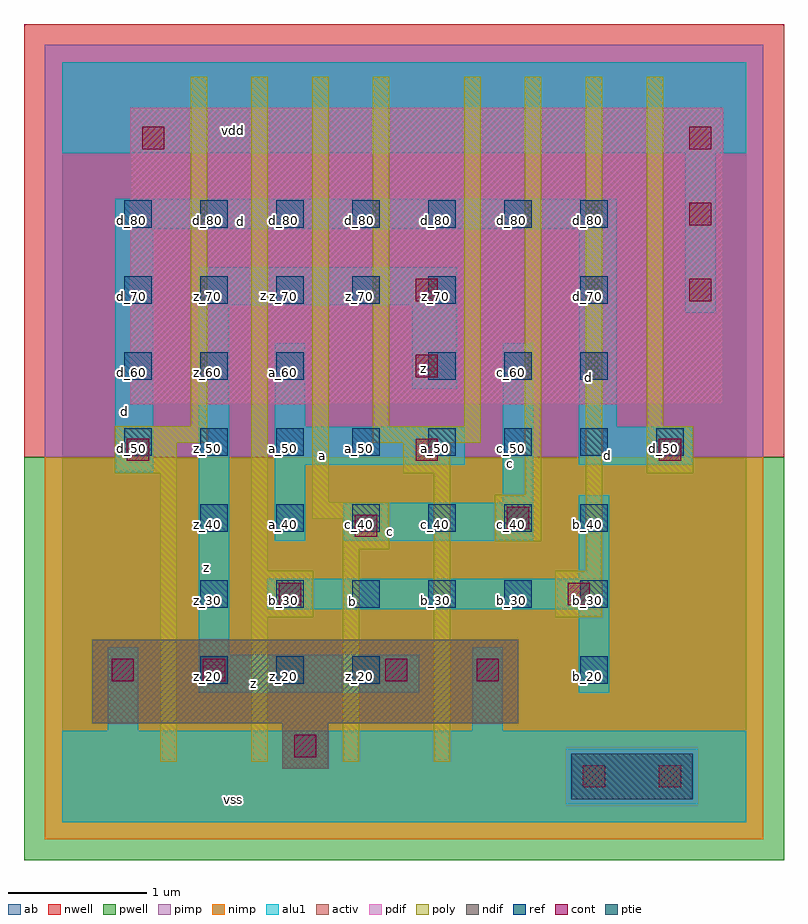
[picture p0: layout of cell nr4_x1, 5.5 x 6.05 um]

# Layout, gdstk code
import gdstk
lib = gdstk.Library(unit=1e-6, precision=2.5e-09)
def R(c, l, rs):  # rectangles x0, y0, x1, y1
    for r in rs: c.add(gdstk.rectangle(r[:2], r[2:], *l))
def A(c, l, x, y, w, h, nx, ny, dx, dy):  # array of equal rectangles
    R(c, l, [(x+i*dx, y+j*dy, x+i*dx+w, y+j*dy+h) for i in range(nx) for j in range(ny)])
ndif = (3, 0)
pdif = (4, 0)
ptie = (6, 0)
ref = (24, 0)
cont = (25, 0)
pwell = (41, 0)
nwell = (42, 0)
activ = (43, 0)
pimp = (44, 0)
nimp = (45, 0)
poly = (46, 0)
alu1 = (49, 0)
ab = (63, 0)

nr4_x1 = lib.new_cell('nr4_x1')
R(nr4_x1, ndif, [(1.595,0.385,1.925,0.715), (0.22,0.715,3.3,1.32)])
R(nr4_x1, pdif, [(0.495,3.025,4.785,5.17)])
R(nr4_x1, ptie, [(3.685,0.165,4.565,0.495)])
A(nr4_x1, ref, 1, 1, 0.2, 0.2, 3, 1, 0.55, 0)
A(nr4_x1, ref, 1, 1.55, 0.2, 0.2, 6, 2, 0.55, 0.55)
A(nr4_x1, ref, 0.45, 2.65, 0.2, 0.2, 8, 1, 0.55, 0)
A(nr4_x1, ref, 0.45, 3.2, 0.2, 0.2, 3, 1, 0.55, 0)
A(nr4_x1, ref, 2.65, 3.2, 0.2, 0.2, 3, 1, 0.55, 0)
A(nr4_x1, ref, 0.45, 3.75, 0.2, 0.2, 5, 1, 0.55, 0)
A(nr4_x1, ref, 0.45, 4.3, 0.2, 0.2, 7, 1, 0.55, 0)
R(nr4_x1, ref, [(3.75,1,3.95,1.2), (3.75,3.75,3.95,3.95)])
A(nr4_x1, cont, 4.54, 3.77, 0.16, 0.16, 1, 3, 0, 0.55)
R(nr4_x1, cont, [(3.77,0.25,3.93,0.41), (4.32,0.25,4.48,0.41), (1.68,0.47,1.84,0.63), (0.36,1.02,0.52,1.18), (1.02,1.02,1.18,1.18), (2.34,1.02,2.5,1.18), (3,1.02,3.16,1.18), (1.57,1.57,1.73,1.73), (3.66,1.57,3.82,1.73), (2.12,2.065,2.28,2.225), (3.22,2.12,3.38,2.28), (0.47,2.615,0.63,2.775), (2.56,2.615,2.72,2.775), (4.32,2.615,4.48,2.775), (2.56,3.22,2.72,3.38), (2.56,3.77,2.72,3.93), (0.58,4.87,0.74,5.03)])
R(nr4_x1, pwell, [(-0.275,-0.275,5.225,2.64)])
R(nr4_x1, nwell, [(-0.275,2.64,5.225,5.775)])
R(nr4_x1, activ, [(3.685,0.165,4.565,0.495), (1.595,0.385,1.925,0.715), (0.22,0.715,3.3,1.32), (0.495,3.025,4.785,5.17)])
R(nr4_x1, pimp, [(3.645,0.125,4.605,0.535), (-0.125,2.64,5.075,5.625)])
R(nr4_x1, nimp, [(-0.125,-0.125,5.075,0.125), (-0.125,0.125,3.645,0.535), (4.605,0.125,5.075,0.535), (-0.125,0.535,5.075,2.64)])
R(nr4_x1, poly, [(0.71,0.435,0.83,2.525), (1.37,0.435,1.49,1.48), (2.03,0.435,2.15,1.975), (2.69,0.435,2.81,2.525), (1.37,1.48,1.82,1.82), (3.57,1.48,3.91,1.82), (1.37,1.82,1.49,5.395), (3.79,1.82,3.91,5.395), (2.03,1.975,2.37,2.195), (3.13,2.03,3.47,2.37), (1.81,2.195,2.37,2.315), (1.81,2.315,1.93,5.395), (3.35,2.37,3.47,5.395), (0.38,2.525,0.83,2.745), (2.47,2.525,2.81,2.745), (4.23,2.525,4.57,2.865), (0.38,2.745,1.05,2.865), (2.25,2.745,3.03,2.865), (0.93,2.865,1.05,5.395), (2.25,2.865,2.37,5.395), (2.91,2.865,3.03,5.395), (4.23,2.865,4.35,5.395)])
R(nr4_x1, alu1, [(0,0,4.95,0.66), (0.33,0.66,0.55,1.265), (2.97,0.66,3.19,1.265), (0.99,0.935,2.585,1.21), (3.74,0.935,3.96,1.54), (0.99,1.21,1.21,3.74), (1.485,1.54,3.96,1.76), (3.74,1.76,3.96,2.365), (1.54,2.035,1.76,2.585), (2.035,2.035,3.41,2.31), (3.19,2.31,3.41,3.465), (0.385,2.53,0.66,4.29), (1.54,2.585,2.915,2.86), (3.74,2.585,4.565,2.86), (1.54,2.86,1.76,3.465), (3.74,2.86,4.015,4.29), (2.53,3.135,2.86,3.74), (4.51,3.685,4.73,4.84), (0.99,3.74,2.86,4.015), (0.385,4.29,4.015,4.51), (0,4.84,4.95,5.5)])
R(nr4_x1, ab, [(0,0,4.95,5.5)])
nr4_x1.add(gdstk.Label('vss', (1.2375,0.165), layer=49, texttype=0))
nr4_x1.add(gdstk.Label('z', (1.3875,1.0025), layer=49, texttype=0))
nr4_x1.add(gdstk.Label('b', (2.1025,1.595), layer=49, texttype=0))
nr4_x1.add(gdstk.Label('c', (2.3775,2.1025), layer=49, texttype=0))
nr4_x1.add(gdstk.Label('d', (3.945,2.6525), layer=49, texttype=0))
nr4_x1.add(gdstk.Label('d', (3.8075,3.2175), layer=49, texttype=0))
nr4_x1.add(gdstk.Label('c', (3.245,2.5975), layer=49, texttype=0))
nr4_x1.add(gdstk.Label('a', (1.8825,2.6525), layer=49, texttype=0))
nr4_x1.add(gdstk.Label('z', (2.6125,3.285), layer=49, texttype=0))
nr4_x1.add(gdstk.Label('z', (1.045,1.8425), layer=49, texttype=0))
nr4_x1.add(gdstk.Label('z', (1.4575,3.8075), layer=49, texttype=0))
nr4_x1.add(gdstk.Label('d', (0.4525,2.97), layer=49, texttype=0))
nr4_x1.add(gdstk.Label('d', (1.2925,4.345), layer=49, texttype=0))
nr4_x1.add(gdstk.Label('vdd', (1.2375,5.005), layer=49, texttype=0))
nr4_x1.add(gdstk.Label('z_60', (2.7,3.25), layer=24, texttype=0))
nr4_x1.add(gdstk.Label('b_20', (3.8,1.05), layer=24, texttype=0))
nr4_x1.add(gdstk.Label('c_60', (3.25,3.25), layer=24, texttype=0))
nr4_x1.add(gdstk.Label('c_50', (3.25,2.7), layer=24, texttype=0))
nr4_x1.add(gdstk.Label('a_40', (1.6,2.15), layer=24, texttype=0))
nr4_x1.add(gdstk.Label('d_50', (4.35,2.7), layer=24, texttype=0))
nr4_x1.add(gdstk.Label('d_60', (0.5,3.25), layer=24, texttype=0))
nr4_x1.add(gdstk.Label('z_50', (1.05,2.7), layer=24, texttype=0))
nr4_x1.add(gdstk.Label('z_30', (1.05,1.6), layer=24, texttype=0))
nr4_x1.add(gdstk.Label('z_40', (1.05,2.15), layer=24, texttype=0))
nr4_x1.add(gdstk.Label('c_40', (2.7,2.15), layer=24, texttype=0))
nr4_x1.add(gdstk.Label('b_30', (2.7,1.6), layer=24, texttype=0))
nr4_x1.add(gdstk.Label('c_40', (2.15,2.15), layer=24, texttype=0))
nr4_x1.add(gdstk.Label('z_20', (1.6,1.05), layer=24, texttype=0))
nr4_x1.add(gdstk.Label('z_20', (2.15,1.05), layer=24, texttype=0))
nr4_x1.add(gdstk.Label('d_50', (0.5,2.7), layer=24, texttype=0))
nr4_x1.add(gdstk.Label('b_30', (3.25,1.6), layer=24, texttype=0))
nr4_x1.add(gdstk.Label('c_40', (3.25,2.15), layer=24, texttype=0))
nr4_x1.add(gdstk.Label('a_50', (2.15,2.7), layer=24, texttype=0))
nr4_x1.add(gdstk.Label('b_30', (1.6,1.6), layer=24, texttype=0))
nr4_x1.add(gdstk.Label('b_30', (2.15,1.6), layer=24, texttype=0))
nr4_x1.add(gdstk.Label('d_70', (0.5,3.8), layer=24, texttype=0))
nr4_x1.add(gdstk.Label('d_80', (0.5,4.35), layer=24, texttype=0))
nr4_x1.add(gdstk.Label('d_80', (1.05,4.35), layer=24, texttype=0))
nr4_x1.add(gdstk.Label('d_80', (1.6,4.35), layer=24, texttype=0))
nr4_x1.add(gdstk.Label('d_80', (2.15,4.35), layer=24, texttype=0))
nr4_x1.add(gdstk.Label('d_80', (2.7,4.35), layer=24, texttype=0))
nr4_x1.add(gdstk.Label('d_80', (3.25,4.35), layer=24, texttype=0))
nr4_x1.add(gdstk.Label('d_80', (3.8,4.35), layer=24, texttype=0))
nr4_x1.add(gdstk.Label('z_60', (1.05,3.25), layer=24, texttype=0))
nr4_x1.add(gdstk.Label('z_70', (1.05,3.8), layer=24, texttype=0))
nr4_x1.add(gdstk.Label('z_70', (1.6,3.8), layer=24, texttype=0))
nr4_x1.add(gdstk.Label('z_70', (2.15,3.8), layer=24, texttype=0))
nr4_x1.add(gdstk.Label('z_70', (2.7,3.8), layer=24, texttype=0))
nr4_x1.add(gdstk.Label('a_50', (1.6,2.7), layer=24, texttype=0))
nr4_x1.add(gdstk.Label('a_60', (1.6,3.25), layer=24, texttype=0))
nr4_x1.add(gdstk.Label('a_50', (2.7,2.7), layer=24, texttype=0))
nr4_x1.add(gdstk.Label('b_30', (3.8,1.6), layer=24, texttype=0))
nr4_x1.add(gdstk.Label('b_40', (3.8,2.15), layer=24, texttype=0))
nr4_x1.add(gdstk.Label('z_20', (1.05,1.05), layer=24, texttype=0))
nr4_x1.add(gdstk.Label('d_60', (3.8,3.25), layer=24, texttype=0))
nr4_x1.add(gdstk.Label('d_70', (3.8,3.8), layer=24, texttype=0))
nr4_x1.add(gdstk.Label('d_50', (3.8,2.7), layer=24, texttype=0))

lib.write_gds('nr4_x1.gds')
